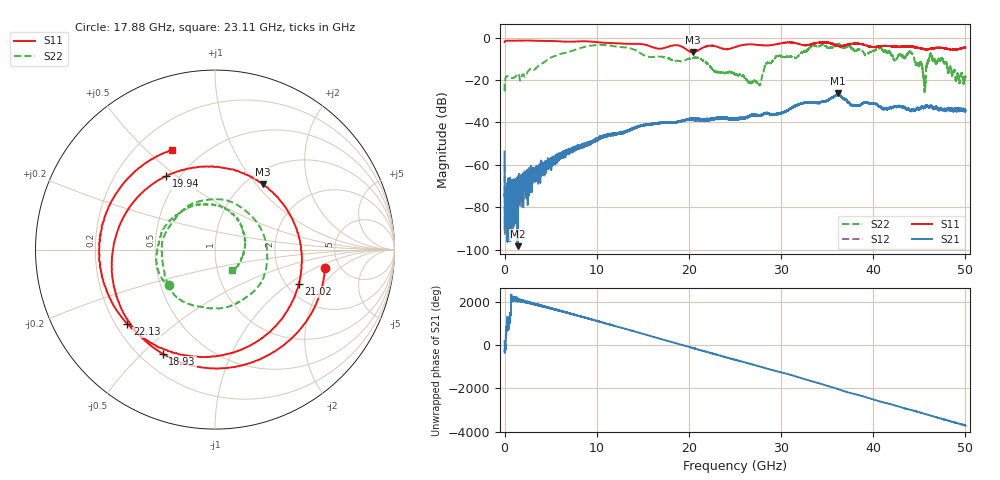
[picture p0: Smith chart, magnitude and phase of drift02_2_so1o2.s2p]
!Created with skrf (http://scikit-rf.org).
# Hz S RI R 50.0
!freq ReS11 ImS11 ReS21 ImS21 ReS12 ImS12 ReS22 ImS22
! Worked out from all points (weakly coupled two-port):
!   10001 points, 300 kHz to 50 GHz, reference 50 ohm
!   highest |S21| = -26.33 dB at 36.13 GHz (marker M1); lowest = -98.3 dB at 1.4 GHz (marker M2)
!   lowest |S11| = -6.9 dB at 20.44 GHz (marker M3), VSWR 2.64, Z = 59.3 + j54.1 ohm
!   |S11| at or under -10 dB: nowhere
!   |S22| runs from -26.0 to -2.8 dB; largest |S21 - S12| = 0.0049
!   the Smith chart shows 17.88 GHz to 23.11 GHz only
!   S11 on the Smith chart (normalised r, x): 17.88 GHz: 3.83, -1.29; 18.93 GHz: 0.29, -0.58; 19.94 GHz: 0.42, +0.46; 21.02 GHz: 2.32, -1.19; 22.13 GHz: 0.25, -0.35; 23.11 GHz: 0.34, +0.60
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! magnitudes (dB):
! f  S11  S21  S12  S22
! 300 kHz  -2.1  -53.7  -60.1  -21.6
! 255.3 MHz  -1.4  -72.5  -76.3  -18.2
! 1.4 GHz  -1.4  -98.3  -70.8  -17.3
! 8.335 GHz  -1.7  -50.8  -51.3  -4.8
! 16.67 GHz  -5.2  -40.4  -40.4  -8.9
! 17.88 GHz  -4.1  -39.9  -40.0  -9.8
! 18.93 GHz  -3.8  -39.5  -39.7  -11.0
! 19.94 GHz  -6.2  -38.6  -38.7  -10.0
! 20.44 GHz  -6.9  -38.1  -38.1  -9.7
! 21.02 GHz  -5.9  -39.0  -38.6  -9.5
! 22.13 GHz  -3.9  -38.9  -38.5  -12.7
! 23.11 GHz  -4.4  -38.1  -38.2  -16.6
! 25 GHz  -4.5  -38.1  -38.0  -17.3
! 27.6 GHz  -3.5  -36.6  -36.6  -22.4
! 28.5 GHz  -3.7  -35.8  -35.7  -12.1
! 33.34 GHz  -3.0  -30.7  -30.5  -3.8
! 36.13 GHz  -3.9  -26.3  -27.0  -3.3
! 41.67 GHz  -4.0  -33.3  -33.5  -6.4
! 44.11 GHz  -4.2  -34.6  -34.6  -7.2
! 45.51 GHz  -5.4  -33.4  -33.1  -19.6
! 46.25 GHz  -5.2  -32.5  -32.4  -8.0
! 50 GHz  -4.7  -34.4  -34.3  -18.7
